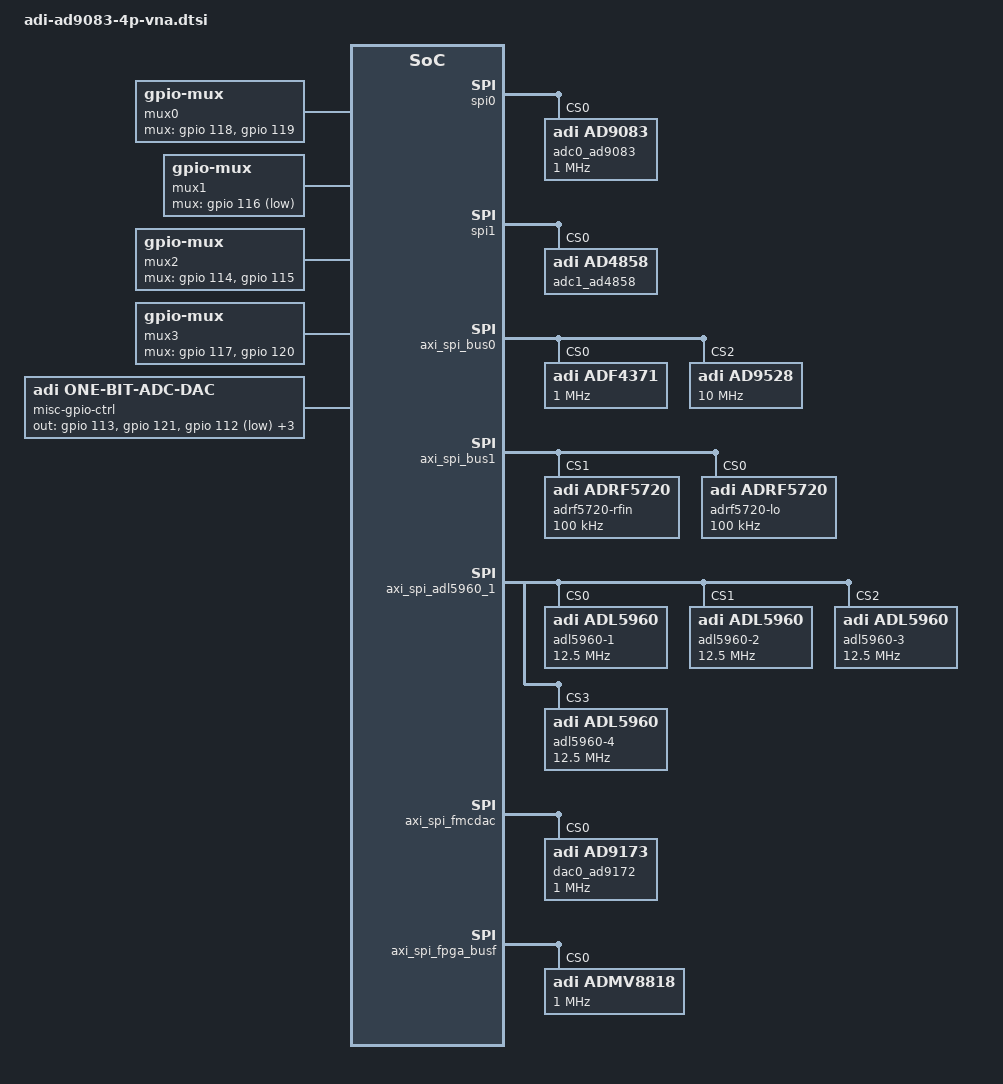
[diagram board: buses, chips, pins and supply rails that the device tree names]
// SPDX-License-Identifier: GPL-2.0
/*
 * dts file for AD9083-ADL5960 on Xilinx ZynqMP ZCU102 Rev 1.0
 *
 * board_revision: <Rev.A>
 *
 * Copyright (C) 2022 Analog Devices Inc.
 */
#include <dt-bindings/iio/frequency/ad9528.h>
#include <dt-bindings/iio/adc/adi,ad9083.h>

#define ADF9528_DIST_CLK	1000000000

#ifndef ADL5960_FOF
#define ADL5960_FOF		256
#endif

#ifndef AD9083_CIC_DEC
#define AD9083_CIC_DEC		AD9083_CIC_DEC_8
#endif

#define AD9083_NCO_FREQ		(ADF9528_DIST_CLK / ADL5960_FOF)

/ {
	fixed_clk: fixed-clock {
		#clock-cells = <0>;
		compatible = "fixed-clock";
		clock-frequency = <10000000>;
	};

	/* gpio_sw4_v1, gpio_sw4_v2*/
	mux0: mux-controller0 {
		compatible = "gpio-mux";
		#mux-control-cells = <0>;

		mux-gpios = <&gpio 118 0>, <&gpio 119 0>;
	};

	/* gpio_sw2 */
	mux1: mux-controller1 {
		compatible = "gpio-mux";
		#mux-control-cells = <0>;

		mux-gpios = <&gpio 116 1>;
	};

	/* gpio_sw1_v1, gpio_sw1_v2 */
	mux2: mux-controller2 {
		compatible = "gpio-mux";
		#mux-control-cells = <0>;

		mux-gpios = <&gpio 114 0>, <&gpio 115 0>;
	};

	/* gpio_sw3_v1, gpio_sw3_v2 */
	mux3: mux-controller3 {
		compatible = "gpio-mux";
		#mux-control-cells = <0>;

		mux-gpios = <&gpio 117 0>, <&gpio 120 0>;
	};

	vna_mux0: mux-rfin {
		compatible = "adi,gen_mux";
		mux-controls = <&mux0>;
		mux-state-names =
			"d4", "d3", "d2", "d1";
		label = "mux-rfin";
	};

	clk_mux0: mux-adf4371 {
		compatible = "adi,gen_mux";
		clocks = <&adf4371 0>, <&adf4371 2>;
		#clock-cells = <0>;
		clock-names = "pll0-clk-rf8", "pll0-clk-rf16";
		clock-output-names = "clk-mux-out";

		mux-controls = <&mux1>;
		mux-state-names = "rf8", "rf16";
		label = "mux-adf4371";
	};

	freq_src_mux0: mux-freq-src-sel {
		compatible = "adi,gen_mux";
		mux-controls = <&mux2>;
		mux-state-names =
			"rf_dac0_direct", "upconv", "j7_in", "disabled";
		label = "mux-freq-src-sel";
	};

	freq_src_mux1: mux-rfin-freq-src-sel {
		compatible = "adi,gen_mux";
		mux-controls = <&mux3>;
		mux-state-names =
			"j1_in", "rf_dac1_direct", "main", "main_after_splitter";
		label = "mux-rfin-freq-src-sel";
	};

	adl5960-sync@0 {
		compatible = "adi,one-bit-adc-dac";
		out-gpios = <&gpio 113 0>, <&gpio 121 0>, <&gpio 112 1>, <&gpio 126 1>, <&gpio 128 0>, <&gpio 129 1>;

		#address-cells = <1>;
		#size-cells = <0>;
		label = "misc-gpio-ctrl";

		channel@0 {
			reg = <0>;
			label = "ADL5960x_SYNC";
		};
		channel@1 {
			reg = <1>;
			label = "MIX2_EN";
		};
		channel@2 { /* Inverted */
			reg = <2>;
			label = "AD9528_REF_SEL";
		};
		channel@3 { /* Inverted */
			reg = <3>;
			label = "SW_PG";
		};

		channel@4 {
			reg = <4>;
			label = "ADMV8818_SFL";
		};
		channel@5 {
			reg = <5>;
			label = "AD5732_CLR";
		};

	};
};

&spi0 {
	adc0_ad9083: ad9083@0 {
		compatible = "adi,ad9083";
		reg = <0>;

		jesd204-device;
		#jesd204-cells = <2>;
		jesd204-top-device = <0>;
		jesd204-link-ids = <0>;
		jesd204-inputs = <&axi_ad9083_core_rx 0 0>;

		spi-max-frequency = <1000000>;
		clocks = <&ad9528 13>;
		clock-names = "adc_ref_clk";
		adi,adc-frequency-hz= /bits/ 64 <2000000000>; /* 2 GHz */

		/* adi_ad9083 config */

		adi,vmax-microvolt = <1800>;
		adi,fc-hz =  /bits/ 64 <125000000>; /* 125 MHz */
		adi,rterm-ohms = <100>;
		adi,backoff = <0>;
		adi,finmax-hz = /bits/ 64 <100000000>;
		adi,nco0_freq-hz = /bits/ 64 <AD9083_NCO_FREQ>;
		adi,nco1_freq-hz = /bits/ 64 <0>;
		adi,nco2_freq-hz = /bits/ 64 <0>;
		adi,cic_decimation = /bits/ 8 <AD9083_CIC_DEC>;
		adi,j_decimation = /bits/ 8 <AD9083_J_DEC_16>;
		// adi,g_decimation = /bits/ 8 <AD9083_G_DEC_16>;
		// adi,h_decimation = /bits/ 8 <AD9083_H_DEC_16>;
		adi,g_decimation = /bits/ 8 <0>;
		adi,h_decimation = /bits/ 8 <0>;
		adi,nco0_datapath_mode =
			/bits/ 8 <AD9083_DATAPATH_ADC_CIC_NCO_J>;

		/* JESD204 parameters */

		adi,octets-per-frame = <64>;
		adi,frames-per-multiframe = <16>;
		adi,converter-resolution = <16>;
		adi,bits-per-sample = <16>;
		adi,converters-per-device = <32>;
		adi,control-bits-per-sample = <0>;
		adi,lanes-per-device = <1>;
		adi,subclass = <0>;
	};
};

&spi1 {

	status = "okay";

	adc1_ad4858: ad4858@0 {
		compatible = "adi,ad4858";
		reg = <0>;
	};
};

&axi_spi_bus0 {

	status = "okay";

	adf4371: adf4371@0 {
		compatible = "adi,adf4371";
		reg = <0>;
		spi-max-frequency = <1000000>;
		#address-cells = <1>;
		#clock-cells = <1>;
		#size-cells = <0>;
		clocks = <&ad9528 2>;
		clock-names = "clkin";
		clock-scales = <1 10>;
		label = "adf4371";
		clock-output-names = "pll0-clk-rf8", "pll0-clk-rfaux8",
			"pll0-clk-rf16", "pll0-clk-rf32";
		channel@0 {
			reg = <0>;
			adi,power-up-frequency = /bits/ 64 <1000000000>;
			adi,output-enable;
		};
		channel@1 {
			reg = <1>;
			adi,power-up-frequency = /bits/ 64 <1000000000>;
			adi,output-enable;
		};
		channel@2 {
			reg = <2>;
			adi,power-up-frequency = /bits/ 64 <8000000000>;
			adi,output-enable;
		};
	};
#if 0
	dac1_ad5732: ad5732@1 {
		compatible = "adi,ad5732r";
		reg = <1>;

		spi-max-frequency = <1000000>;
		spi-cpha;

		#address-cells = <1>;
		#size-cells = <0>;

		channel@0 {
			reg = <0>;
			output-range-microvolts = <0 5000000>;
			adi,init-dac-code = <32000>;
		};

		channel@1 {
			reg = <1>;
			output-range-microvolts = <0 5000000>;
			adi,init-dac-code = <34000>;
		};
	};
#endif
	ad9528: ad9528@2 {
		compatible = "adi,ad9528";
		reg = <2>;
		spi-cpol;
		spi-cpha;
		#address-cells = <1>;
		#size-cells = <0>;

		clocks = <&fixed_clk>;

		jesd204-device;
		#jesd204-cells = <2>;
		jesd204-sysref-provider;

		spi-max-frequency = <10000000>;

		clock-output-names =
			"ad9528-1_out0", "ad9528-1_out1", "ad9528-1_out2",
			"ad9528-1_out3", "ad9528-1_out4", "ad9528-1_out5",
			"ad9528-1_out6", "ad9528-1_out7", "ad9528-1_out8",
			"ad9528-1_out9", "ad9528-1_out10", "ad9528-1_out11",
			"ad9528-1_out12", "ad9528-1_out13";
		#clock-cells = <1>;

		adi,vcxo-freq = <100000000>;

		adi,refa-enable;
		adi,refb-enable;
		adi,refa-diff-rcv-enable;
		adi,refa-r-div = <1>;
		adi,refb-r-div = <1>;
		adi,osc-in-cmos-neg-inp-enable;

		/* SYSREF config */
		adi,sysref-src = <SYSREF_SRC_INTERNAL>;
		adi,sysref-pattern-mode = <SYSREF_PATTERN_NSHOT>;
		adi,sysref-k-div = <256>;
		adi,sysref-nshot-mode = <SYSREF_NSHOT_4_PULSES>;
		adi,sysref-request-trigger-mode = <SYSREF_LEVEL_HIGH>;
		//adi,jesd204-max-sysref-frequency-hz = <400000>;

		/* PLL1 config */
		adi,pll1-feedback-src-vcxo;
		adi,pll1-feedback-div = <10>;
		adi,pll1-charge-pump-current-nA = <5000>;
		adi,osc-in-diff-enable;

		/* PLL2 config */
		/*
		 * Valid ranges based on VCO locking range:
		 *   1150.000 MHz - 1341.666 MHz
		 *    862.500 MHz - 1006.250 MHz
		 *    690.000 MHz -  805.000 MHz
		 */
		adi,pll2-m1-frequency = <ADF9528_DIST_CLK>;
		adi,pll2-charge-pump-current-nA = <805000>;

		adi,rpole2 = <RPOLE2_900_OHM>;
		adi,rzero = <RZERO_1850_OHM>;
		adi,cpole1 = <CPOLE1_16_PF>;

		adi,status-mon-pin0-function-select = <0xFF>; /* No function */
		adi,status-mon-pin1-function-select = <0xFF>; /* No function */

		ad9528_0_c0: channel@0 {
			reg = <0>;
			adi,extended-name = "FMC_SYSREF";
			adi,driver-mode = <DRIVER_MODE_LVDS>;
			adi,divider-phase = <0>;
			adi,channel-divider = <5>;
			adi,signal-source = <SOURCE_SYSREF_VCO>;
		};

		ad9528_0_c1: channel@1 {
			reg = <1>;
			adi,extended-name = "FPGA_GLBL_CLK"; /* Device clock */
			adi,driver-mode = <DRIVER_MODE_LVDS>;
			adi,divider-phase = <0>;
			adi,channel-divider = <8>; /* 125 MHz */
			adi,signal-source = <SOURCE_VCO>;
		};

		ad9528_0_c2: channel@2 {
			reg = <2>;
			adi,extended-name = "AD4371_XREF";
			adi,driver-mode = <DRIVER_MODE_LVDS>;
			adi,divider-phase = <0>;
			adi,channel-divider = <40>; /* 25 MHz */
			adi,signal-source = <SOURCE_VCO>;
		};

		ad9528_0_c3: channel@3 {
			reg = <3>;
			adi,extended-name = "FPGA_REF_CLK";
			adi,driver-mode = <DRIVER_MODE_LVDS>;
			adi,divider-phase = <0>;
			adi,channel-divider = <2>; /* 500 MHz */
			adi,signal-source = <SOURCE_VCO>;
		};

		ad9528_0_c4: channel@4 {
			reg = <4>;
			adi,extended-name = "ADL5960_FOF1";
			adi,driver-mode = <DRIVER_MODE_LVDS>;
			adi,divider-phase = <0>;
			adi,channel-divider = <ADL5960_FOF>;
			adi,signal-source = <SOURCE_VCO>;
		};
		ad9528_0_c5: channel@5 {
			reg = <5>;
			adi,extended-name = "ADL5960_FOF2";
			adi,driver-mode = <DRIVER_MODE_LVDS>;
			adi,divider-phase = <0>;
			adi,channel-divider = <ADL5960_FOF>;
			adi,signal-source = <SOURCE_VCO>;
		};
		ad9528_0_c6: channel@6 {
			reg = <6>;
			adi,extended-name = "ADL5960_FOF3";
			adi,driver-mode = <DRIVER_MODE_LVDS>;
			adi,divider-phase = <0>;
			adi,channel-divider = <ADL5960_FOF>;
			adi,signal-source = <SOURCE_VCO>;
		};
		ad9528_0_c7: channel@7 {
			reg = <7>;
			adi,extended-name = "ADL5960_FOF4";
			adi,driver-mode = <DRIVER_MODE_LVDS>;
			adi,divider-phase = <0>;
			adi,channel-divider = <ADL5960_FOF>;
			adi,signal-source = <SOURCE_VCO>;
		};
		
		ad9528_0_c8: channel@8 {
			reg = <8>;
			adi,extended-name = "AD9173_REF";
			adi,driver-mode = <DRIVER_MODE_LVDS>;
			adi,divider-phase = <0>;
			adi,channel-divider = <4>;
			adi,signal-source = <SOURCE_VCO>;
		};
		ad9528_0_c9: channel@9 {
			reg = <9>;
			adi,extended-name = "DAC_SYSREF";
			adi,driver-mode = <DRIVER_MODE_LVDS>;
			adi,divider-phase = <0>;
			adi,channel-divider = <5>;
			adi,signal-source = <SOURCE_SYSREF_VCO>;
		};
		ad9528_0_c10: channel@10 {
			reg = <10>;
			adi,extended-name = "TX_DEVICE_CLK";
			adi,driver-mode = <DRIVER_MODE_LVDS>;
			adi,divider-phase = <0>;
			adi,channel-divider = <4>;
			adi,signal-source = <SOURCE_VCO>;
		};
		ad9528_0_c11: channel@11 {
			reg = <11>;
			adi,extended-name = "DAC_FMC_SYSREF";
			adi,driver-mode = <DRIVER_MODE_LVDS>;
			adi,divider-phase = <0>;
			adi,channel-divider = <5>;
			adi,signal-source = <SOURCE_SYSREF_VCO>;
		};

		ad9528_0_c12: channel@12 {
			reg = <12>;
			adi,extended-name = "DEV_SYSREF";
			adi,driver-mode = <DRIVER_MODE_LVDS>;
			adi,divider-phase = <0>;
			adi,channel-divider = <5>;
			adi,signal-source = <SOURCE_SYSREF_VCO>;
		};

		ad9528_0_c13: channel@13 {
			reg = <13>;
			adi,extended-name = "ADC_REF_CLK";
			adi,driver-mode = <DRIVER_MODE_LVDS>;
			adi,divider-phase = <0>;
			adi,channel-divider = <4>; /* 250 MHz */
			adi,signal-source = <SOURCE_VCO>;
		};
	};

};

&axi_spi_bus1 {
	dat1: adrf5720-1@1 {
		compatible = "adi,adrf5720";
		reg = <1>;
		spi-max-frequency = <100000>;
		label = "adrf5720-rfin";
	};

	dat2: adrf5720-2@0 {
		compatible = "adi,adrf5720";
		reg = <0>;
		spi-max-frequency = <100000>;
		label = "adrf5720-lo";
	};
};

&axi_spi_adl5960_1 {
	adl5960-1@0 {
		compatible = "adi,adl5960";
		reg = <0>;
		spi-max-frequency = <12500000>;
		/* Clocks */
		clocks = <&adf4371 1>, <&ad9528 4>;
		clock-names = "lo_in", "offs_in";
		lo_in-clock-scales = <1 10>;
		label = "adl5960-1";
	};

	adl5960-2@1 {
		compatible = "adi,adl5960";
		reg = <1>;
		spi-max-frequency = <12500000>;
		/* Clocks */
		clocks = <&adf4371 1>, <&ad9528 5>;
		clock-names = "lo_in", "offs_in";
		lo_in-clock-scales = <1 10>;
		label = "adl5960-2";
	};

	adl5960-3@2 {
		compatible = "adi,adl5960";
		reg = <2>;
		spi-max-frequency = <12500000>;
		/* Clocks */
		clocks = <&adf4371 1>, <&ad9528 6>;
		clock-names = "lo_in", "offs_in";
		lo_in-clock-scales = <1 10>;
		label = "adl5960-3";
	};

	adl5960-4@3 {
		compatible = "adi,adl5960";
		reg = <3>;
		spi-max-frequency = <12500000>;
		/* Clocks */
		clocks = <&adf4371 1>, <&ad9528 7>;
		clock-names = "lo_in", "offs_in";
		lo_in-clock-scales = <1 10>;
		label = "adl5960-4";
	};
};

&axi_spi_fmcdac {
	dac0_ad9172: ad9173@0 {
		#address-cells = <1>;
		#size-cells = <0>;
		compatible = "adi,ad9173";
		reg = <0>;
		spi-max-frequency = <1000000>;
		clocks = <&ad9528 8>;
		clock-names = "dac_clk";

		// adi,dac-rate-khz = <2949120>;
		// adi,jesd-link-mode = <10>;

		// adi,jesd-subclass = <1>;
		// adi,dac-interpolation = <1>;
		// adi,channel-interpolation = <1>;
		// adi,clock-output-divider = <1>;
		// adi,syncoutb-signal-type-lvds-enable;
		adi,scrambling = <1>;
		adi,sysref-mode = <2>; /* SYSREF_CONTINUOUS */

		adi,dac-rate-khz = <12000000>; /* 12 GSPS */
		adi,jesd-link-mode = <4>;

		adi,jesd-subclass = <0>;
		adi,dac-interpolation = <8>;
		adi,channel-interpolation = <3>;
		adi,clock-output-divider = <4>;
		adi,syncoutb-signal-type-lvds-enable;

		adi,standalone-probe; /* NO JESD204, NO TPL, just NCO TEST TONE */

		/* jesd204-fsm support */
		jesd204-device;
		#jesd204-cells = <2>;
		jesd204-top-device = <1>; /* This is the TOP device */
		jesd204-link-ids = <0>;
		jesd204-inputs = <&axi_ad9172_core 1 0>;
		jesd204-ignore-errors;

	};
};

&axi_spi_fpga_busf {
	admv8818-2@0{
		compatible = "adi,admv8818";
		reg = <0>;
		spi-max-frequency = <1000000>;
		clocks = <&clk_mux0>; /* Fixme */
		clock-names = "rf_in";
		clock-scales = <1 10>;
		label = "admv8818";
		adi,tolerance-percent = <3>;
	};
};

